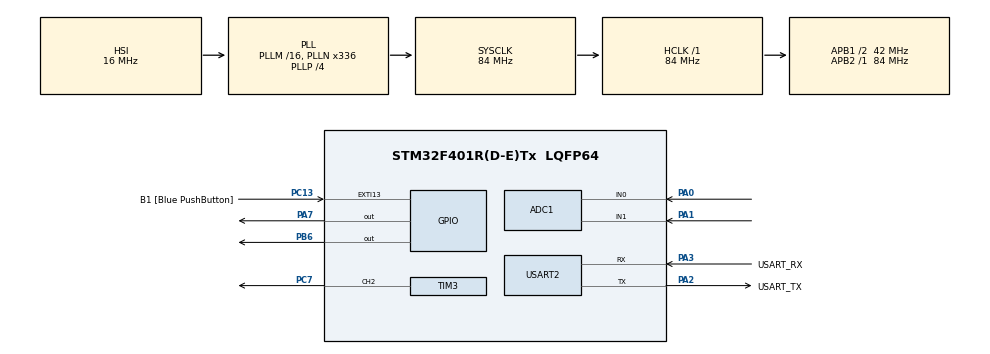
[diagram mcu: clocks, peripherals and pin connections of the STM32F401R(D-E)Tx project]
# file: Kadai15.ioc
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ADC1.Channel-0\#ChannelRegularConversion=ADC_CHANNEL_0
ADC1.Channel-1\#ChannelInjectedConversion=ADC_CHANNEL_0
ADC1.Channel-2\#ChannelInjectedConversion=ADC_CHANNEL_1
ADC1.InjNumberOfConversion=2
ADC1.InjectedOffset-1\#ChannelInjectedConversion=0
ADC1.InjectedOffset-2\#ChannelInjectedConversion=0
ADC1.InjectedRank-1\#ChannelInjectedConversion=1
ADC1.InjectedRank-2\#ChannelInjectedConversion=2
ADC1.NbrOfConversionFlag=1
ADC1.Rank-0\#ChannelRegularConversion=1
ADC1.SamplingTime-0\#ChannelRegularConversion=ADC_SAMPLETIME_3CYCLES
ADC1.SamplingTime-1\#ChannelInjectedConversion=ADC_SAMPLETIME_3CYCLES
ADC1.SamplingTime-2\#ChannelInjectedConversion=ADC_SAMPLETIME_3CYCLES
ADC1.master=1
Mcu.Family=STM32F4
Mcu.Name=STM32F401R(D-E)Tx
Mcu.Package=LQFP64
NVIC.PriorityGroup=NVIC_PRIORITYGROUP_0
PA0-WKUP.Signal=ADCx_IN0
PA1.Signal=ADCx_IN1
PA13.GPIO_Label=TMS
PA13.Mode=Serial_Wire
PA13.Signal=SYS_JTMS-SWDIO
PA14.GPIO_Label=TCK
PA14.Mode=Serial_Wire
PA14.Signal=SYS_JTCK-SWCLK
PA2.GPIO_Label=USART_TX
PA2.GPIO_Mode=GPIO_MODE_AF_PP
PA2.GPIO_PuPd=GPIO_NOPULL
PA2.GPIO_Speed=GPIO_SPEED_FREQ_LOW
PA2.Mode=Asynchronous
PA2.Signal=USART2_TX
PA3.GPIO_Label=USART_RX
PA3.GPIO_Mode=GPIO_MODE_AF_PP
PA3.GPIO_PuPd=GPIO_NOPULL
PA3.GPIO_Speed=GPIO_SPEED_FREQ_LOW
PA3.Mode=Asynchronous
PA3.Signal=USART2_RX
PA7.Signal=GPIO_Output
PB3.GPIO_Label=SWO
PB3.Signal=SYS_JTDO-SWO
PB6.Signal=GPIO_Output
PC13-ANTI_TAMP.GPIO_Label=B1 [Blue PushButton]
PC13-ANTI_TAMP.GPIO_ModeDefaultEXTI=GPIO_MODE_IT_FALLING
PC13-ANTI_TAMP.GPIO_PuPd=GPIO_NOPULL
PC13-ANTI_TAMP.Signal=GPXTI13
PC14-OSC32_IN.Mode=LSE-External-Oscillator
PC14-OSC32_IN.Signal=RCC_OSC32_IN
PC15-OSC32_OUT.Mode=LSE-External-Oscillator
PC15-OSC32_OUT.Signal=RCC_OSC32_OUT
PC7.Signal=S_TIM3_CH2
PH0\ -\ OSC_IN.Mode=HSE-External-Clock-Source
PH0\ -\ OSC_IN.Signal=RCC_OSC_IN
PH1\ -\ OSC_OUT.Mode=HSE-External-Clock-Source
PH1\ -\ OSC_OUT.Signal=RCC_OSC_OUT
ProjectManager.HeapSize=0x200
ProjectManager.StackSize=0x400
ProjectManager.TargetToolchain=EWARM V8.32
RCC.48MHZClocksFreq_Value=48000000
RCC.AHBFreq_Value=84000000
RCC.APB1CLKDivider=RCC_HCLK_DIV2
RCC.APB1Freq_Value=42000000
RCC.APB1TimFreq_Value=84000000
RCC.APB2Freq_Value=84000000
RCC.APB2TimFreq_Value=84000000
RCC.CortexFreq_Value=84000000
RCC.HCLKFreq_Value=84000000
RCC.HSE_VALUE=8000000
RCC.HSI_VALUE=16000000
RCC.PLLN=336
RCC.PLLP=RCC_PLLP_DIV4
RCC.PLLQ=7
RCC.SYSCLKFreq_VALUE=84000000
RCC.SYSCLKSource=RCC_SYSCLKSOURCE_PLLCLK
RCC.VCOOutputFreq_Value=336000000
SH.ADCx_IN0.0=ADC1_IN0,IN0
SH.ADCx_IN1.0=ADC1_IN1,IN1
SH.S_TIM3_CH2.0=TIM3_CH2,PWM Generation2 CH2
TIM2.Period=1000000-1
TIM3.Channel-PWM\ Generation2\ CH2=TIM_CHANNEL_2
TIM3.Period=65536-1
USART2.VirtualMode=VM_ASYNC
VP_TIM2_VS_ClockSourceINT.Mode=Internal
VP_TIM3_VS_ClockSourceINT.Mode=Internal
board=NUCLEO-F401RE

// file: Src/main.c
/* USER CODE BEGIN Header */
/**
  ******************************************************************************
  * @file           : main.c
  * @brief          : Main program body
  ******************************************************************************
  * @attention
  *
  * <h2><center>&copy; Copyright (c) 2021 STMicroelectronics.
  * All rights reserved.</center></h2>
  *
  * This software component is licensed by ST under BSD 3-Clause license,
  * the "License"; You may not use this file except in compliance with the
  * License. You may obtain a copy of the License at:
  *                        opensource.org/licenses/BSD-3-Clause
  *
  ******************************************************************************
  */
/* USER CODE END Header */
#include "main.h"

ADC_HandleTypeDef hadc1;

TIM_HandleTypeDef htim2;
TIM_HandleTypeDef htim3;

UART_HandleTypeDef huart2;

void SystemClock_Config(void);
static void MX_GPIO_Init(void);
static void MX_ADC1_Init(void);
static void MX_USART2_UART_Init(void);
static void MX_TIM2_Init(void);
static void MX_TIM3_Init(void);

int main(void)
{

  /* MCU Configuration--------------------------------------------------------*/

  /* Reset of all peripherals, Initializes the Flash interface and the Systick. */
  HAL_Init();

  /* Configure the system clock */
  SystemClock_Config();

  /* Initialize all configured peripherals */
  MX_GPIO_Init();
  MX_ADC1_Init();
  MX_USART2_UART_Init();
  MX_TIM2_Init();
  MX_TIM3_Init();
  /* USER CODE BEGIN 2 */
  double epsilon = 0;
  double old_epsilon = 0;
  double epsilon_sum = 0;
  double Kp = 100.0;
  double Ti = 200.0;
  double Td = 0.1;
  double target = 0;
  double current = 0;
  double out = 0;

  TIM_OC_InitTypeDef ConfigOC;
  ConfigOC.OCMode = TIM_OCMODE_PWM1;
  ConfigOC.OCPolarity = TIM_OCPOLARITY_HIGH;
  ConfigOC.OCFastMode = TIM_OCFAST_DISABLE;
  HAL_TIM_PWM_Start(&htim3, TIM_CHANNEL_2);
  ADC_ChannelConfTypeDef sConfig;
  sConfig.Rank = 1;
  sConfig.SamplingTime = ADC_SAMPLETIME_3CYCLES;
  sConfig.Offset = 0;

  /* USER CODE END 2 */

  /* Infinite loop */
  /* USER CODE BEGIN WHILE */
  while (1)
  {
    sConfig.Channel = ADC_CHANNEL_0;
    HAL_ADC_ConfigChannel(&hadc1, &sConfig);
    HAL_ADC_Start(&hadc1);
    HAL_ADC_PollForConversion(&hadc1, 10);
    if(HAL_ADC_GetState(&hadc1) & HAL_ADC_STATE_EOC_REG) target = HAL_ADC_GetValue(&hadc1);
    HAL_ADC_Stop(&hadc1);

    sConfig.Channel = ADC_CHANNEL_1;
    HAL_ADC_ConfigChannel(&hadc1, &sConfig);
    HAL_ADC_Start(&hadc1);
    HAL_ADC_PollForConversion(&hadc1, 10);
    if(HAL_ADC_GetState(&hadc1) & HAL_ADC_STATE_EOC_REG) current = HAL_ADC_GetValue(&hadc1);
    HAL_ADC_Stop(&hadc1);

    epsilon = target - current;
    epsilon_sum += epsilon;
    out = Kp*epsilon + (1/Ti)*epsilon_sum + Td*(epsilon - old_epsilon);
    old_epsilon = epsilon;

    if(out < 0) {
      if (HAL_ADC_GetState(&hadc1) & HAL_ADC_STATE_EOC_REG) {
        htim3.Instance -> CCR2 = HAL_ADC_GetValue(&hadc1);
        HAL_GPIO_WritePin(GPIOA, GPIO_PIN_7, GPIO_PIN_SET);
        HAL_GPIO_WritePin(GPIOB, GPIO_PIN_6, GPIO_PIN_RESET);
      }
    } else {
      if (HAL_ADC_GetState(&hadc1) & HAL_ADC_STATE_EOC_REG) {
        htim3.Instance -> CCR2 = HAL_ADC_GetValue(&hadc1);
        HAL_GPIO_WritePin(GPIOA, GPIO_PIN_7, GPIO_PIN_RESET);
        HAL_GPIO_WritePin(GPIOB, GPIO_PIN_6, GPIO_PIN_SET);
      }
    }
    HAL_Delay(1);
    /* USER CODE END WHILE */

  }
}

void SystemClock_Config(void)
{
  RCC_OscInitTypeDef RCC_OscInitStruct = {0};
  RCC_ClkInitTypeDef RCC_ClkInitStruct = {0};

  /** Configure the main internal regulator output voltage
  */
  __HAL_RCC_PWR_CLK_ENABLE();
  __HAL_PWR_VOLTAGESCALING_CONFIG(PWR_REGULATOR_VOLTAGE_SCALE2);
  /** Initializes the RCC Oscillators according to the specified parameters
  * in the RCC_OscInitTypeDef structure.
  */
  RCC_OscInitStruct.OscillatorType = RCC_OSCILLATORTYPE_HSI;
  RCC_OscInitStruct.HSIState = RCC_HSI_ON;
  RCC_OscInitStruct.HSICalibrationValue = RCC_HSICALIBRATION_DEFAULT;
  RCC_OscInitStruct.PLL.PLLState = RCC_PLL_ON;
  RCC_OscInitStruct.PLL.PLLSource = RCC_PLLSOURCE_HSI;
  RCC_OscInitStruct.PLL.PLLM = 16;
  RCC_OscInitStruct.PLL.PLLN = 336;
  RCC_OscInitStruct.PLL.PLLP = RCC_PLLP_DIV4;
  RCC_OscInitStruct.PLL.PLLQ = 7;
  if (HAL_RCC_OscConfig(&RCC_OscInitStruct) != HAL_OK)
  {
    Error_Handler();
  }
  /** Initializes the CPU, AHB and APB buses clocks
  */
  RCC_ClkInitStruct.ClockType = RCC_CLOCKTYPE_HCLK|RCC_CLOCKTYPE_SYSCLK
                              |RCC_CLOCKTYPE_PCLK1|RCC_CLOCKTYPE_PCLK2;
  RCC_ClkInitStruct.SYSCLKSource = RCC_SYSCLKSOURCE_PLLCLK;
  RCC_ClkInitStruct.AHBCLKDivider = RCC_SYSCLK_DIV1;
  RCC_ClkInitStruct.APB1CLKDivider = RCC_HCLK_DIV2;
  RCC_ClkInitStruct.APB2CLKDivider = RCC_HCLK_DIV1;

  if (HAL_RCC_ClockConfig(&RCC_ClkInitStruct, FLASH_LATENCY_2) != HAL_OK)
  {
    Error_Handler();
  }
}

static void MX_ADC1_Init(void)
{

  ADC_ChannelConfTypeDef sConfig = {0};
  ADC_InjectionConfTypeDef sConfigInjected = {0};

  /** Configure the global features of the ADC (Clock, Resolution, Data Alignment and number of conversion)
  */
  hadc1.Instance = ADC1;
  hadc1.Init.ClockPrescaler = ADC_CLOCK_SYNC_PCLK_DIV4;
  hadc1.Init.Resolution = ADC_RESOLUTION_12B;
  hadc1.Init.ScanConvMode = ENABLE;
  hadc1.Init.ContinuousConvMode = DISABLE;
  hadc1.Init.DiscontinuousConvMode = DISABLE;
  hadc1.Init.ExternalTrigConvEdge = ADC_EXTERNALTRIGCONVEDGE_NONE;
  hadc1.Init.ExternalTrigConv = ADC_SOFTWARE_START;
  hadc1.Init.DataAlign = ADC_DATAALIGN_RIGHT;
  hadc1.Init.NbrOfConversion = 1;
  hadc1.Init.DMAContinuousRequests = DISABLE;
  hadc1.Init.EOCSelection = ADC_EOC_SINGLE_CONV;
  if (HAL_ADC_Init(&hadc1) != HAL_OK)
  {
    Error_Handler();
  }
  /** Configure for the selected ADC regular channel its corresponding rank in the sequencer and its sample time.
  */
  sConfig.Channel = ADC_CHANNEL_0;
  sConfig.Rank = 1;
  sConfig.SamplingTime = ADC_SAMPLETIME_3CYCLES;
  if (HAL_ADC_ConfigChannel(&hadc1, &sConfig) != HAL_OK)
  {
    Error_Handler();
  }
  /** Configures for the selected ADC injected channel its corresponding rank in the sequencer and its sample time
  */
  sConfigInjected.InjectedChannel = ADC_CHANNEL_0;
  sConfigInjected.InjectedRank = 1;
  sConfigInjected.InjectedNbrOfConversion = 2;
  sConfigInjected.InjectedSamplingTime = ADC_SAMPLETIME_3CYCLES;
  sConfigInjected.ExternalTrigInjecConvEdge = ADC_EXTERNALTRIGINJECCONVEDGE_NONE;
  sConfigInjected.ExternalTrigInjecConv = ADC_INJECTED_SOFTWARE_START;
  sConfigInjected.AutoInjectedConv = DISABLE;
  sConfigInjected.InjectedDiscontinuousConvMode = DISABLE;
  sConfigInjected.InjectedOffset = 0;
  if (HAL_ADCEx_InjectedConfigChannel(&hadc1, &sConfigInjected) != HAL_OK)
  {
    Error_Handler();
  }
  /** Configures for the selected ADC injected channel its corresponding rank in the sequencer and its sample time
  */
  sConfigInjected.InjectedChannel = ADC_CHANNEL_1;
  sConfigInjected.InjectedRank = 2;
  if (HAL_ADCEx_InjectedConfigChannel(&hadc1, &sConfigInjected) != HAL_OK)
  {
    Error_Handler();
  }

}

static void MX_TIM2_Init(void)
{

  TIM_ClockConfigTypeDef sClockSourceConfig = {0};
  TIM_MasterConfigTypeDef sMasterConfig = {0};

  htim2.Instance = TIM2;
  htim2.Init.Prescaler = 0;
  htim2.Init.CounterMode = TIM_COUNTERMODE_UP;
  htim2.Init.Period = 1000000-1;
  htim2.Init.ClockDivision = TIM_CLOCKDIVISION_DIV1;
  htim2.Init.AutoReloadPreload = TIM_AUTORELOAD_PRELOAD_DISABLE;
  if (HAL_TIM_Base_Init(&htim2) != HAL_OK)
  {
    Error_Handler();
  }
  sClockSourceConfig.ClockSource = TIM_CLOCKSOURCE_INTERNAL;
  if (HAL_TIM_ConfigClockSource(&htim2, &sClockSourceConfig) != HAL_OK)
  {
    Error_Handler();
  }
  sMasterConfig.MasterOutputTrigger = TIM_TRGO_RESET;
  sMasterConfig.MasterSlaveMode = TIM_MASTERSLAVEMODE_DISABLE;
  if (HAL_TIMEx_MasterConfigSynchronization(&htim2, &sMasterConfig) != HAL_OK)
  {
    Error_Handler();
  }

}

static void MX_TIM3_Init(void)
{

  TIM_ClockConfigTypeDef sClockSourceConfig = {0};
  TIM_MasterConfigTypeDef sMasterConfig = {0};
  TIM_OC_InitTypeDef sConfigOC = {0};

  htim3.Instance = TIM3;
  htim3.Init.Prescaler = 0;
  htim3.Init.CounterMode = TIM_COUNTERMODE_UP;
  htim3.Init.Period = 65536-1;
  htim3.Init.ClockDivision = TIM_CLOCKDIVISION_DIV1;
  htim3.Init.AutoReloadPreload = TIM_AUTORELOAD_PRELOAD_DISABLE;
  if (HAL_TIM_Base_Init(&htim3) != HAL_OK)
  {
    Error_Handler();
  }
  sClockSourceConfig.ClockSource = TIM_CLOCKSOURCE_INTERNAL;
  if (HAL_TIM_ConfigClockSource(&htim3, &sClockSourceConfig) != HAL_OK)
  {
    Error_Handler();
  }
  if (HAL_TIM_PWM_Init(&htim3) != HAL_OK)
  {
    Error_Handler();
  }
  sMasterConfig.MasterOutputTrigger = TIM_TRGO_RESET;
  sMasterConfig.MasterSlaveMode = TIM_MASTERSLAVEMODE_DISABLE;
  if (HAL_TIMEx_MasterConfigSynchronization(&htim3, &sMasterConfig) != HAL_OK)
  {
    Error_Handler();
  }
  sConfigOC.OCMode = TIM_OCMODE_PWM1;
  sConfigOC.Pulse = 0;
  sConfigOC.OCPolarity = TIM_OCPOLARITY_HIGH;
  sConfigOC.OCFastMode = TIM_OCFAST_DISABLE;
  if (HAL_TIM_PWM_ConfigChannel(&htim3, &sConfigOC, TIM_CHANNEL_2) != HAL_OK)
  {
    Error_Handler();
  }
  HAL_TIM_MspPostInit(&htim3);

}

static void MX_USART2_UART_Init(void)
{

  huart2.Instance = USART2;
  huart2.Init.BaudRate = 115200;
  huart2.Init.WordLength = UART_WORDLENGTH_8B;
  huart2.Init.StopBits = UART_STOPBITS_1;
  huart2.Init.Parity = UART_PARITY_NONE;
  huart2.Init.Mode = UART_MODE_TX_RX;
  huart2.Init.HwFlowCtl = UART_HWCONTROL_NONE;
  huart2.Init.OverSampling = UART_OVERSAMPLING_16;
  if (HAL_UART_Init(&huart2) != HAL_OK)
  {
    Error_Handler();
  }

}

static void MX_GPIO_Init(void)
{
  GPIO_InitTypeDef GPIO_InitStruct = {0};

  /* GPIO Ports Clock Enable */
  __HAL_RCC_GPIOC_CLK_ENABLE();
  __HAL_RCC_GPIOH_CLK_ENABLE();
  __HAL_RCC_GPIOA_CLK_ENABLE();
  __HAL_RCC_GPIOB_CLK_ENABLE();

  /*Configure GPIO pin Output Level */
  HAL_GPIO_WritePin(GPIOA, GPIO_PIN_7, GPIO_PIN_RESET);

  /*Configure GPIO pin Output Level */
  HAL_GPIO_WritePin(GPIOB, GPIO_PIN_6, GPIO_PIN_RESET);

  /*Configure GPIO pin : B1_Pin */
  GPIO_InitStruct.Pin = B1_Pin;
  GPIO_InitStruct.Mode = GPIO_MODE_IT_FALLING;
  GPIO_InitStruct.Pull = GPIO_NOPULL;
  HAL_GPIO_Init(B1_GPIO_Port, &GPIO_InitStruct);

  /*Configure GPIO pin : PA7 */
  GPIO_InitStruct.Pin = GPIO_PIN_7;
  GPIO_InitStruct.Mode = GPIO_MODE_OUTPUT_PP;
  GPIO_InitStruct.Pull = GPIO_NOPULL;
  GPIO_InitStruct.Speed = GPIO_SPEED_FREQ_LOW;
  HAL_GPIO_Init(GPIOA, &GPIO_InitStruct);

  /*Configure GPIO pin : PB6 */
  GPIO_InitStruct.Pin = GPIO_PIN_6;
  GPIO_InitStruct.Mode = GPIO_MODE_OUTPUT_PP;
  GPIO_InitStruct.Pull = GPIO_NOPULL;
  GPIO_InitStruct.Speed = GPIO_SPEED_FREQ_LOW;
  HAL_GPIO_Init(GPIOB, &GPIO_InitStruct);

}

void Error_Handler(void)
{
  __disable_irq();
  while (1)
  {
  }
}

/************************ (C) COPYRIGHT STMicroelectronics *****END OF FILE****/
